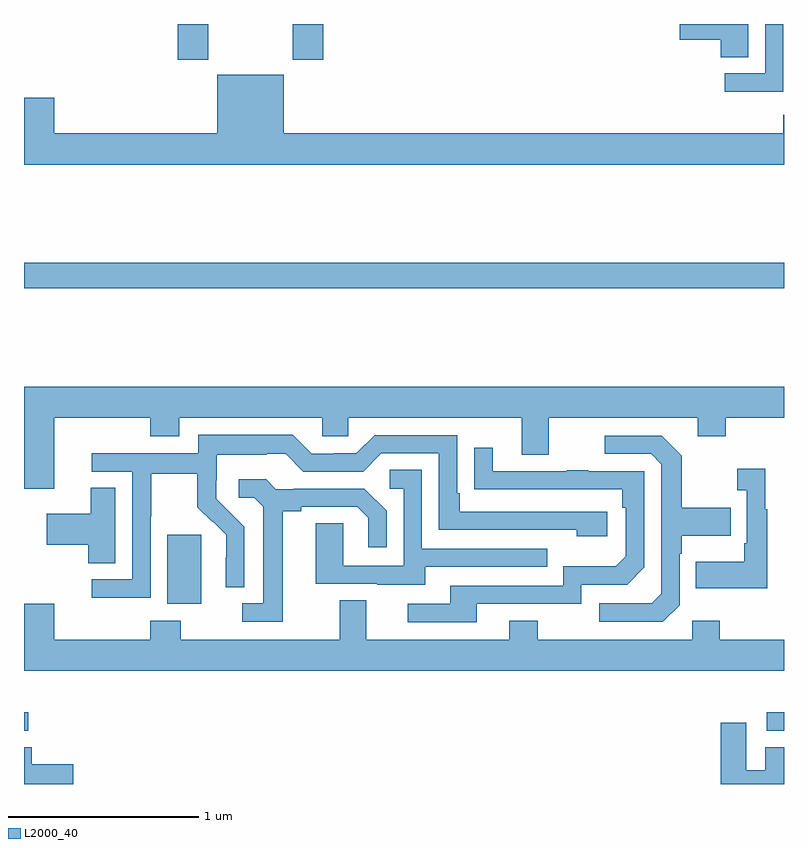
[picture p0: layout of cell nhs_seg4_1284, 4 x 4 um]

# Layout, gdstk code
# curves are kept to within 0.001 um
import gdstk
lib = gdstk.Library(unit=1e-6, precision=1e-09)
def R(c, l, rs):  # rectangles x0, y0, x1, y1
    for r in rs: c.add(gdstk.rectangle(r[:2], r[2:], *l))
def P(c, l, *ps):  # polygons
    for p in ps: c.add(gdstk.Polygon(p, *l))
L2000_40 = (2000, 40)

nhs_seg4_1284 = lib.new_cell('nhs_seg4_1284')
R(nhs_seg4_1284, L2000_40, [(177,787.179,177.022,787.278), (180.909,787.179,181,787.278), (177.755,787.85,177.934,788.211), (177,789.508,181,789.644), (177.809,790.713,177.969,790.9), (178.414,790.713,178.574,790.9)])
P(nhs_seg4_1284, L2000_40, [(180.996,790.9),(180.9,790.9),(180.9,790.641),(180.687,790.641),(180.687,790.543),(180.996,790.543)],
  [(180.811,790.9),(180.45,790.9),(180.45,790.817),(180.668,790.817),(180.668,790.726),(180.811,790.726)],
  [(181,790.423),(180.995,790.423),(180.995,790.324),(178.366,790.324),(178.366,790.633),(178.016,790.633),(178.016,790.324),(177.16,790.324),(177.16,790.513),(177,790.513),(177,790.16),(181,790.16)],
  [(177.16,788.828),(177.665,788.828),(177.665,788.729),(177.817,788.729),(177.817,788.828),(178.569,788.828),(178.569,788.73),(178.707,788.73),(178.707,788.828),(179.621,788.828),(179.621,788.634),(179.761,788.634),(179.761,788.828),(180.545,788.828),(180.545,788.729),(180.693,788.729),(180.693,788.828),(181,788.828),(181,788.992),(177,788.992),(177,788.454),(177.16,788.454)],
  [(177.666,788.308),(177.669,788.308),(177.669,788.532),(177.913,788.532),(177.913,788.357),(177.99,788.28),(177.993,788.283),(178.064,788.213),(178.064,788.09),(178.062,788.09),(178.062,787.936),(178.158,787.936),(178.158,788.254),(178.012,788.402),(178.012,788.499),(178.014,788.499),(178.014,788.633),(178.277,788.633),(178.277,788.637),(178.377,788.637),(178.47,788.544),(178.785,788.544),(178.881,788.64),(179.184,788.64),(179.184,788.238),(179.909,788.238),(179.909,788.204),(180.07,788.204),(180.07,788.334),(179.293,788.334),(179.293,788.431),(179.28,788.431),(179.28,788.736),(178.845,788.736),(178.749,788.64),(178.631,788.64),(178.631,788.637),(178.515,788.637),(178.415,788.737),(177.918,788.737),(177.918,788.64),(177.357,788.64),(177.357,788.544),(177.57,788.544),(177.57,787.977),(177.357,787.977),(177.357,787.879),(177.666,787.879)],
  [(180.45,787.842),(180.45,788.111),(180.463,788.111),(180.463,788.207),(180.719,788.207),(180.719,788.355),(180.463,788.355),(180.463,788.627),(180.357,788.733),(180.057,788.733),(180.057,788.637),(180.3,788.637),(180.354,788.583),(180.354,787.902),(180.303,787.851),(180.027,787.851),(180.027,787.755),(180.363,787.755)],
  [(179.383,787.848),(179.934,787.848),(179.934,787.95),(180.174,787.95),(180.264,788.04),(180.264,788.547),(179.969,788.547),(179.969,788.552),(179.857,788.552),(179.857,788.547),(179.467,788.547),(179.467,788.671),(179.371,788.671),(179.371,788.452),(180.148,788.451),(180.148,788.354),(180.168,788.354),(180.168,788.1),(180.115,788.047),(179.838,788.047),(179.838,787.944),(179.243,787.944),(179.243,787.848),(179.019,787.848),(179.019,787.752),(179.383,787.752)],
  [(180.913,788.347),(180.901,788.347),(180.901,788.56),(180.753,788.56),(180.753,788.447),(180.804,788.447),(180.804,788.167),(180.792,788.167),(180.792,788.071),(180.535,788.071),(180.535,787.931),(180.913,787.931)],
  [(179.113,788.043),(179.753,788.043),(179.753,788.139),(179.094,788.139),(179.094,788.555),(178.926,788.555),(178.926,788.454),(178.998,788.454),(178.998,788.049),(178.68,788.049),(178.68,788.273),(178.535,788.273),(178.535,787.953),(178.859,787.953),(178.859,787.949),(179.113,787.949)],
  [(178.363,788.336),(178.459,788.336),(178.459,788.358),(178.754,788.358),(178.811,788.301),(178.811,788.145),(178.908,788.145),(178.908,788.338),(178.792,788.454),(178.42,788.454),(178.42,788.451),(178.326,788.451),(178.274,788.503),(178.131,788.503),(178.131,788.406),(178.212,788.406),(178.259,788.359),(178.259,787.851),(178.149,787.851),(178.149,787.755),(178.363,787.755)],
  [(177.481,788.459),(177.35,788.459),(177.35,788.323),(177.12,788.323),(177.12,788.158),(177.338,788.158),(177.338,788.062),(177.481,788.062)],
  [(181,787.66),(180.663,787.66),(180.663,787.759),(180.516,787.759),(180.516,787.66),(179.703,787.66),(179.703,787.759),(179.555,787.759),(179.555,787.66),(178.801,787.66),(178.801,787.868),(178.661,787.868),(178.661,787.66),(177.825,787.66),(177.825,787.759),(177.665,787.759),(177.665,787.66),(177.16,787.66),(177.16,787.849),(177,787.849),(177,787.496),(181,787.496)],
  [(181,787.094),(180.902,787.094),(180.902,786.973),(180.802,786.973),(180.802,787.222),(180.668,787.222),(180.668,786.9),(181,786.9)],
  [(177.259,787.004),(177.041,787.004),(177.041,787.094),(177,787.094),(177,786.9),(177.259,786.9)])

lib.write_gds('nhs_seg4_1284.gds')
